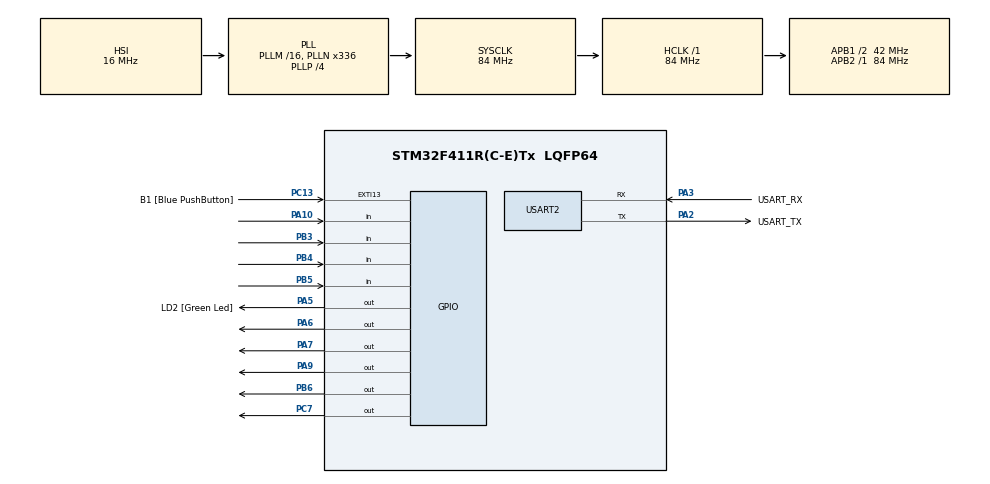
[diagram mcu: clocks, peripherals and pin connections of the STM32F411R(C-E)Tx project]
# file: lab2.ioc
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Mcu.Family=STM32F4
Mcu.Name=STM32F411R(C-E)Tx
Mcu.Package=LQFP64
NVIC.PriorityGroup=NVIC_PRIORITYGROUP_0
PA10.GPIO_PuPd=GPIO_PULLUP
PA10.Signal=GPIO_Input
PA13.GPIO_Label=TMS
PA13.Mode=Serial_Wire
PA13.Signal=SYS_JTMS-SWDIO
PA14.GPIO_Label=TCK
PA14.Mode=Serial_Wire
PA14.Signal=SYS_JTCK-SWCLK
PA2.GPIO_Label=USART_TX
PA2.Mode=Asynchronous
PA2.Signal=USART2_TX
PA3.GPIO_Label=USART_RX
PA3.Mode=Asynchronous
PA3.Signal=USART2_RX
PA5.GPIO_Label=LD2 [Green Led]
PA5.GPIO_ModeDefaultOutputPP=GPIO_MODE_OUTPUT_PP
PA5.Signal=GPIO_Output
PA6.GPIO_ModeDefaultOutputPP=GPIO_MODE_OUTPUT_OD
PA6.Signal=GPIO_Output
PA7.GPIO_ModeDefaultOutputPP=GPIO_MODE_OUTPUT_OD
PA7.PinState=GPIO_PIN_SET
PA7.Signal=GPIO_Output
PA9.GPIO_ModeDefaultOutputPP=GPIO_MODE_OUTPUT_OD
PA9.PinState=GPIO_PIN_SET
PA9.Signal=GPIO_Output
PB3.GPIO_PuPd=GPIO_PULLUP
PB3.Signal=GPIO_Input
PB4.GPIO_PuPd=GPIO_PULLUP
PB4.Signal=GPIO_Input
PB5.GPIO_PuPd=GPIO_PULLUP
PB5.Signal=GPIO_Input
PB6.GPIO_ModeDefaultOutputPP=GPIO_MODE_OUTPUT_OD
PB6.PinState=GPIO_PIN_SET
PB6.Signal=GPIO_Output
PC13-ANTI_TAMP.GPIO_Label=B1 [Blue PushButton]
PC13-ANTI_TAMP.GPIO_ModeDefaultEXTI=GPIO_MODE_IT_FALLING
PC13-ANTI_TAMP.Signal=GPXTI13
PC14-OSC32_IN.Mode=LSE-External-Oscillator
PC14-OSC32_IN.Signal=RCC_OSC32_IN
PC15-OSC32_OUT.Mode=LSE-External-Oscillator
PC15-OSC32_OUT.Signal=RCC_OSC32_OUT
PC7.GPIO_ModeDefaultOutputPP=GPIO_MODE_OUTPUT_OD
PC7.PinState=GPIO_PIN_SET
PC7.Signal=GPIO_Output
PH0\ -\ OSC_IN.Mode=HSE-External-Clock-Source
PH0\ -\ OSC_IN.Signal=RCC_OSC_IN
PH1\ -\ OSC_OUT.Mode=HSE-External-Clock-Source
PH1\ -\ OSC_OUT.Signal=RCC_OSC_OUT
ProjectManager.HeapSize=0x200
ProjectManager.StackSize=0x400
ProjectManager.TargetToolchain=STM32CubeIDE
RCC.48MHZClocksFreq_Value=84000000
RCC.AHBFreq_Value=84000000
RCC.APB1CLKDivider=RCC_HCLK_DIV2
RCC.APB1Freq_Value=42000000
RCC.APB1TimFreq_Value=84000000
RCC.APB2Freq_Value=84000000
RCC.APB2TimFreq_Value=84000000
RCC.CortexFreq_Value=84000000
RCC.FLatency-AdvancedSettings=FLASH_LATENCY_2
RCC.HCLKFreq_Value=84000000
RCC.HSE_VALUE=8000000
RCC.HSI_VALUE=16000000
RCC.PLLN=336
RCC.PLLP=RCC_PLLP_DIV4
RCC.SYSCLKFreq_VALUE=84000000
RCC.SYSCLKSource=RCC_SYSCLKSOURCE_PLLCLK
RCC.VCOOutputFreq_Value=336000000
USART2.VirtualMode=VM_ASYNC
board=NUCLEO-F411RE

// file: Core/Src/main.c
/* USER CODE BEGIN Header */
/**
  ******************************************************************************
  * @file           : main.c
  * @brief          : Main program body
  ******************************************************************************
  * @attention
  *
  * <h2><center>&copy; Copyright (c) 2021 STMicroelectronics.
  * All rights reserved.</center></h2>
  *
  * This software component is licensed by ST under BSD 3-Clause license,
  * the "License"; You may not use this file except in compliance with the
  * License. You may obtain a copy of the License at:
  *                        opensource.org/licenses/BSD-3-Clause
  *
  ******************************************************************************
  */
/* USER CODE END Header */
#include "main.h"

UART_HandleTypeDef huart2;

void SystemClock_Config(void);
static void MX_GPIO_Init(void);
static void MX_USART2_UART_Init(void);
/* USER CODE BEGIN PFP */
uint16_t ButtonMatrixState=0;
uint32_t ButtonMatrixTimestamp=0;
GPIO_TypeDef* ButtonmatrixPort[8]={GPIOA,GPIOB,GPIOB,GPIOB,GPIOA,GPIOC,GPIOB,GPIOA};
uint8_t state=1;
uint16_t before=0;
uint8_t led=0;
uint8_t firstthird=0;
enum{first=1,second,third,four,five,six,seven,eight,nine,ten,eleven,waiting_clear,waiting_ok};
void ButtonMatrixUpdate();
void switchcase();

/* USER CODE END PFP */

int main(void)
{

  /* MCU Configuration--------------------------------------------------------*/

  /* Reset of all peripherals, Initializes the Flash interface and the Systick. */
  HAL_Init();

  /* Configure the system clock */
  SystemClock_Config();

  /* Initialize all configured peripherals */
  MX_GPIO_Init();
  MX_USART2_UART_Init();
  /* USER CODE BEGIN 2 */
//  HAL_GPIO_WritePin(GPIOA, GPIO_PIN_5, GPIO_PIN_SET);
  /* USER CODE END 2 */

  /* Infinite loop */
  /* USER CODE BEGIN WHILE */

  while (1)
  {
	  ButtonMatrixUpdate();
	  switchcase();

    /* USER CODE END WHILE */

  }
}

void SystemClock_Config(void)
{
  RCC_OscInitTypeDef RCC_OscInitStruct = {0};
  RCC_ClkInitTypeDef RCC_ClkInitStruct = {0};

  /** Configure the main internal regulator output voltage
  */
  __HAL_RCC_PWR_CLK_ENABLE();
  __HAL_PWR_VOLTAGESCALING_CONFIG(PWR_REGULATOR_VOLTAGE_SCALE1);
  /** Initializes the RCC Oscillators according to the specified parameters
  * in the RCC_OscInitTypeDef structure.
  */
  RCC_OscInitStruct.OscillatorType = RCC_OSCILLATORTYPE_HSI;
  RCC_OscInitStruct.HSIState = RCC_HSI_ON;
  RCC_OscInitStruct.HSICalibrationValue = RCC_HSICALIBRATION_DEFAULT;
  RCC_OscInitStruct.PLL.PLLState = RCC_PLL_ON;
  RCC_OscInitStruct.PLL.PLLSource = RCC_PLLSOURCE_HSI;
  RCC_OscInitStruct.PLL.PLLM = 16;
  RCC_OscInitStruct.PLL.PLLN = 336;
  RCC_OscInitStruct.PLL.PLLP = RCC_PLLP_DIV4;
  RCC_OscInitStruct.PLL.PLLQ = 4;
  if (HAL_RCC_OscConfig(&RCC_OscInitStruct) != HAL_OK)
  {
    Error_Handler();
  }
  /** Initializes the CPU, AHB and APB buses clocks
  */
  RCC_ClkInitStruct.ClockType = RCC_CLOCKTYPE_HCLK|RCC_CLOCKTYPE_SYSCLK
                              |RCC_CLOCKTYPE_PCLK1|RCC_CLOCKTYPE_PCLK2;
  RCC_ClkInitStruct.SYSCLKSource = RCC_SYSCLKSOURCE_PLLCLK;
  RCC_ClkInitStruct.AHBCLKDivider = RCC_SYSCLK_DIV1;
  RCC_ClkInitStruct.APB1CLKDivider = RCC_HCLK_DIV2;
  RCC_ClkInitStruct.APB2CLKDivider = RCC_HCLK_DIV1;

  if (HAL_RCC_ClockConfig(&RCC_ClkInitStruct, FLASH_LATENCY_2) != HAL_OK)
  {
    Error_Handler();
  }
}

static void MX_USART2_UART_Init(void)
{

  huart2.Instance = USART2;
  huart2.Init.BaudRate = 115200;
  huart2.Init.WordLength = UART_WORDLENGTH_8B;
  huart2.Init.StopBits = UART_STOPBITS_1;
  huart2.Init.Parity = UART_PARITY_NONE;
  huart2.Init.Mode = UART_MODE_TX_RX;
  huart2.Init.HwFlowCtl = UART_HWCONTROL_NONE;
  huart2.Init.OverSampling = UART_OVERSAMPLING_16;
  if (HAL_UART_Init(&huart2) != HAL_OK)
  {
    Error_Handler();
  }

}

static void MX_GPIO_Init(void)
{
  GPIO_InitTypeDef GPIO_InitStruct = {0};

  /* GPIO Ports Clock Enable */
  __HAL_RCC_GPIOC_CLK_ENABLE();
  __HAL_RCC_GPIOH_CLK_ENABLE();
  __HAL_RCC_GPIOA_CLK_ENABLE();
  __HAL_RCC_GPIOB_CLK_ENABLE();

  /*Configure GPIO pin Output Level */
  HAL_GPIO_WritePin(GPIOA, LD2_Pin|GPIO_PIN_6, GPIO_PIN_RESET);

  /*Configure GPIO pin Output Level */
  HAL_GPIO_WritePin(GPIOA, GPIO_PIN_7|GPIO_PIN_9, GPIO_PIN_SET);

  /*Configure GPIO pin Output Level */
  HAL_GPIO_WritePin(GPIOC, GPIO_PIN_7, GPIO_PIN_SET);

  /*Configure GPIO pin Output Level */
  HAL_GPIO_WritePin(GPIOB, GPIO_PIN_6, GPIO_PIN_SET);

  /*Configure GPIO pin : B1_Pin */
  GPIO_InitStruct.Pin = B1_Pin;
  GPIO_InitStruct.Mode = GPIO_MODE_IT_FALLING;
  GPIO_InitStruct.Pull = GPIO_NOPULL;
  HAL_GPIO_Init(B1_GPIO_Port, &GPIO_InitStruct);

  /*Configure GPIO pin : LD2_Pin */
  GPIO_InitStruct.Pin = LD2_Pin;
  GPIO_InitStruct.Mode = GPIO_MODE_OUTPUT_PP;
  GPIO_InitStruct.Pull = GPIO_NOPULL;
  GPIO_InitStruct.Speed = GPIO_SPEED_FREQ_LOW;
  HAL_GPIO_Init(LD2_GPIO_Port, &GPIO_InitStruct);

  /*Configure GPIO pins : PA6 PA7 PA9 */
  GPIO_InitStruct.Pin = GPIO_PIN_6|GPIO_PIN_7|GPIO_PIN_9;
  GPIO_InitStruct.Mode = GPIO_MODE_OUTPUT_OD;
  GPIO_InitStruct.Pull = GPIO_NOPULL;
  GPIO_InitStruct.Speed = GPIO_SPEED_FREQ_LOW;
  HAL_GPIO_Init(GPIOA, &GPIO_InitStruct);

  /*Configure GPIO pin : PC7 */
  GPIO_InitStruct.Pin = GPIO_PIN_7;
  GPIO_InitStruct.Mode = GPIO_MODE_OUTPUT_OD;
  GPIO_InitStruct.Pull = GPIO_NOPULL;
  GPIO_InitStruct.Speed = GPIO_SPEED_FREQ_LOW;
  HAL_GPIO_Init(GPIOC, &GPIO_InitStruct);

  /*Configure GPIO pin : PA10 */
  GPIO_InitStruct.Pin = GPIO_PIN_10;
  GPIO_InitStruct.Mode = GPIO_MODE_INPUT;
  GPIO_InitStruct.Pull = GPIO_PULLUP;
  HAL_GPIO_Init(GPIOA, &GPIO_InitStruct);

  /*Configure GPIO pins : PB3 PB4 PB5 */
  GPIO_InitStruct.Pin = GPIO_PIN_3|GPIO_PIN_4|GPIO_PIN_5;
  GPIO_InitStruct.Mode = GPIO_MODE_INPUT;
  GPIO_InitStruct.Pull = GPIO_PULLUP;
  HAL_GPIO_Init(GPIOB, &GPIO_InitStruct);

  /*Configure GPIO pin : PB6 */
  GPIO_InitStruct.Pin = GPIO_PIN_6;
  GPIO_InitStruct.Mode = GPIO_MODE_OUTPUT_OD;
  GPIO_InitStruct.Pull = GPIO_NOPULL;
  GPIO_InitStruct.Speed = GPIO_SPEED_FREQ_LOW;
  HAL_GPIO_Init(GPIOB, &GPIO_InitStruct);

}

/* USER CODE BEGIN 4 */
uint16_t ButtonMatrixPin[8]={GPIO_PIN_10,GPIO_PIN_3,GPIO_PIN_5,GPIO_PIN_4,GPIO_PIN_9,GPIO_PIN_7,GPIO_PIN_6,GPIO_PIN_7};
uint8_t ButtonMatrixRow=0;
void ButtonMatrixUpdate(){
	if(HAL_GetTick()-ButtonMatrixTimestamp>=100){
		ButtonMatrixTimestamp=HAL_GetTick();
		for(int i=0;i<4;i++){
			GPIO_PinState Pinstate;
			Pinstate=HAL_GPIO_ReadPin(ButtonmatrixPort[i], ButtonMatrixPin[i]);
			if(Pinstate== GPIO_PIN_RESET){
				ButtonMatrixState |= (uint16_t)0x1<<(i+ ButtonMatrixRow*4);
			}else{
				ButtonMatrixState &= ~((uint16_t)0x1<<(i+ ButtonMatrixRow*4));
			}

		}
			uint8_t NowoutputPin =ButtonMatrixRow+4;
			HAL_GPIO_WritePin(ButtonmatrixPort[NowoutputPin], ButtonMatrixPin[NowoutputPin], GPIO_PIN_SET);
			ButtonMatrixRow=(ButtonMatrixRow+1)%4;
			uint8_t NextoutputPin = ButtonMatrixRow+4;
			HAL_GPIO_WritePin(ButtonmatrixPort[NextoutputPin], ButtonMatrixPin[NextoutputPin], GPIO_PIN_RESET);

	}

}

void switchcase(){

	if(ButtonMatrixState!=0  &&  ButtonMatrixState!=before)
		  {
		  switch(state){
		  case waiting_ok:
			  if(ButtonMatrixState==0b1000000000000000)
			  {
			  HAL_GPIO_WritePin(GPIOA, GPIO_PIN_5, GPIO_PIN_SET);
			  state = first;
			  }
			  else if (ButtonMatrixState==0b1000)
			  			  {
			  				state = first;

			  			  }
			  else
			  {
				state = waiting_clear;
			  }

		  break;
		  case waiting_clear:
			  if(ButtonMatrixState==0b1000)
			  {
				  state = first;
			  }
		  break;

		  case first:
			  if(ButtonMatrixState==0b1000000)
			  {
				  state = second;
			  }
			  else if (ButtonMatrixState==0b1000)
			  {
				state = first;

			  }
			  else
			  			  {
			  				state = waiting_clear;
			  			  }

		  break;
		  case second:
			  if(ButtonMatrixState==0b1000000000)
			  {
				  state = third;
			  }
			  else if (ButtonMatrixState==0b1000)
			  			  {
			  				state = first;

			  			  }
			  else
			  			  {
			  				state = waiting_clear;
			  			  }

		  break;
		  case third:
			  if(ButtonMatrixState==0b10000000000)
			  {

				  state = four;
			  }
			  else if (ButtonMatrixState==0b1000)
			  			  {
			  				state = first;

			  			  }
			  else
			  			  {
			  				state = waiting_clear;
			  			  }
		  break;
		  case four:
			  if(ButtonMatrixState==0b10000)
			  {
			   state = five;
			  }
			  else if (ButtonMatrixState==0b1000)
			  			  {
			  				state = first;

			  			  }
			  else
			  			  {
			  				state = waiting_clear;
			  			  }
			  break;
		  case five:
			  if(ButtonMatrixState==0b1000000000000)
			  	{
			  	 state = six;
			  	 }
			  else if (ButtonMatrixState==0b1000)
			  			  {
			  				state = first;

			  			  }
			  else
			  			  {
			  				state = waiting_clear;
			  			  }
			  break;
		  case six:
			  if(ButtonMatrixState==0b100000)
			  	{
			  	state = seven;
			  	}
			  else if (ButtonMatrixState==0b1000)
			  			  {
			  				state = first;

			  			  }
			  else
			  			  {
			  				state = waiting_clear;
			  			  }
			  break;
		  case seven:
			  if(ButtonMatrixState==0b1000000000000)
			  {
			  state = eight;
			  }
			  else if (ButtonMatrixState==0b1000)
			  			  {
			  				state = first;

			  			  }
			  else
			  			  {
			  				state = waiting_clear;
			  			  }
			  break;
		  case eight:
			  if(ButtonMatrixState==0b1000000000000)
			  {
			  state = nine;
			  }
			  else if (ButtonMatrixState==0b1000)
			  			  {
			  				state = first;

			  			  }
			  else
			  			  {
			  				state = waiting_clear;
			  			  }
			  break;
		  case nine:
			  if(ButtonMatrixState==0b1000000000000)
			  {
			  state = ten;
			  }
			  else if (ButtonMatrixState==0b1000)
			  			  {
			  				state = first;

			  			  }
			  else
			  			  {
			  				state = waiting_clear;
			  			  }
			  break;
		  case ten:
			  if(ButtonMatrixState==0b1000000)
			  {
			  state = eleven;
			  }
			  else if (ButtonMatrixState==0b1000)
			  			  {
			  				state = first;

			  			  }
			  else
			  			  {
			  				state = waiting_clear;
			  			  }
			  break;
		  case eleven:
			  if(ButtonMatrixState==0b10000000000)
			  {

			  state = waiting_ok;
			  }
			  else if (ButtonMatrixState==0b1000)
			  			  {
			  				state = first;

			  			  }
			  else
			  			  {
			  				state = waiting_clear;
			  			  }
			  break;

		  }

		  }before = ButtonMatrixState;
}
/* USER CODE END 4 */

void Error_Handler(void)
{
  __disable_irq();
  while (1)
  {
  }
}

/************************ (C) COPYRIGHT STMicroelectronics *****END OF FILE****/
